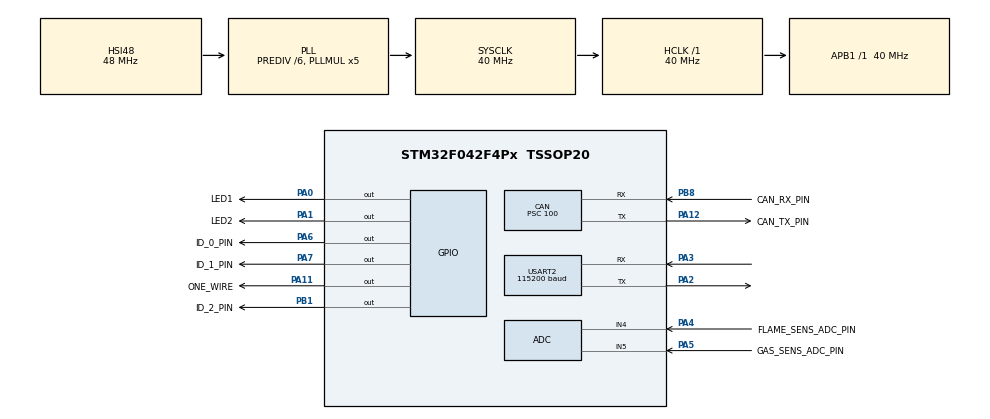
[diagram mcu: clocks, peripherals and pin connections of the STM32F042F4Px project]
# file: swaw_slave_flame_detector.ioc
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ADC.ContinuousConvMode=DISABLE
ADC.EOCSelection=ADC_EOC_SINGLE_CONV
ADC.EnableAnalogWatchDog=false
ADC.ExternalTrigConv=ADC_SOFTWARE_START
ADC.Overrun=ADC_OVR_DATA_OVERWRITTEN
ADC.SamplingTime=ADC_SAMPLETIME_7CYCLES_5
ADC.ScanConvMode=ADC_SCAN_DIRECTION_FORWARD
CAN.BS1=CAN_BS1_2TQ
CAN.CalculateBaudRate=100000
CAN.CalculateTimeBit=10000
CAN.CalculateTimeQuantum=2500.0
CAN.NART=ENABLE
CAN.Prescaler=100
CAN.SJW=CAN_SJW_2TQ
Mcu.Family=STM32F0
Mcu.Name=STM32F042F4Px
Mcu.Package=TSSOP20
PA0.GPIO_Label=LED1
PA0.Signal=GPIO_Output
PA1.GPIO_Label=LED2
PA1.Signal=GPIO_Output
PA11.GPIO_Label=ONE_WIRE
PA11.GPIO_ModeDefaultOutputPP=GPIO_MODE_OUTPUT_OD
PA11.GPIO_PuPd=GPIO_NOPULL
PA11.PinState=GPIO_PIN_SET
PA11.Signal=GPIO_Output
PA12.GPIO_Label=CAN_TX_PIN
PA12.GPIO_PuPd=GPIO_NOPULL
PA12.Mode=CAN_Activate
PA12.Signal=CAN_TX
PA13.Mode=Serial_Wire
PA13.Signal=SYS_SWDIO
PA14.Mode=Serial_Wire
PA14.Signal=SYS_SWCLK
PA2.Mode=Asynchronous
PA2.Signal=USART2_TX
PA3.Mode=Asynchronous
PA3.Signal=USART2_RX
PA4.GPIO_Label=FLAME_SENS_ADC_PIN
PA4.Mode=IN4
PA4.Signal=ADC_IN4
PA5.GPIO_Label=GAS_SENS_ADC_PIN
PA5.Mode=IN5
PA5.Signal=ADC_IN5
PA6.GPIO_Label=ID_0_PIN
PA6.Signal=GPIO_Output
PA7.GPIO_Label=ID_1_PIN
PA7.Signal=GPIO_Output
PB1.GPIO_Label=ID_2_PIN
PB1.Signal=GPIO_Output
PB8.GPIO_FM8=__NULL
PB8.GPIO_Label=CAN_RX_PIN
PB8.GPIO_PuPd=GPIO_NOPULL
PB8.Mode=CAN_Activate
PB8.Signal=CAN_RX
PF0-OSC_IN.Mode=HSE-External-Oscillator
PF0-OSC_IN.Signal=RCC_OSC_IN
PF1-OSC_OUT.Mode=HSE-External-Oscillator
PF1-OSC_OUT.Signal=RCC_OSC_OUT
ProjectManager.HeapSize=0x200
ProjectManager.StackSize=0x400
ProjectManager.TargetToolchain=STM32CubeIDE
RCC.AHBFreq_Value=40000000
RCC.APB1Freq_Value=40000000
RCC.APB1TimFreq_Value=40000000
RCC.HCLKFreq_Value=40000000
RCC.HSE_VALUE=16000000
RCC.PLLDivider=RCC_PREDIV_DIV6
RCC.PLLMUL=RCC_PLL_MUL5
RCC.PLLSourceVirtual=RCC_PLLSOURCE_HSI48
RCC.SYSCLKFreq_VALUE=40000000
RCC.SYSCLKSource=RCC_SYSCLKSOURCE_PLLCLK
TIM17.Prescaler=39
USART2.BaudRate=115200
USART2.VirtualMode-Asynchronous=VM_ASYNC
VP_SYS_VS_PINREMAP.Mode=PINREMAP
VP_TIM17_VS_ClockSourceINT.Mode=Enable_Timer
board=custom

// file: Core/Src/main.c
/* USER CODE BEGIN Header */
/**
  ******************************************************************************
  * @file           : main.c
  * @brief          : Main program body
  ******************************************************************************
  * @attention
  *
  * Copyright (c) 2023 STMicroelectronics.
  * All rights reserved.
  *
  * This software is licensed under terms that can be found in the LICENSE file
  * in the root directory of this software component.
  * If no LICENSE file comes with this software, it is provided AS-IS.
  *
  ******************************************************************************
  */
/* USER CODE END Header */
#include "main.h"
#include "adc.h"
#include "can.h"
#include "tim.h"
#include "usart.h"
#include "gpio.h"

/* USER CODE BEGIN Includes */
#include "ds18b20.h"
#include "flame_sensor.h"
#include "smoke_sensor.h"
#include<string.h>
/* USER CODE END Includes */

/* USER CODE BEGIN PV */
	struct Slv_payload{
		uint16_t smoke_val;
		uint16_t flame_val;
		int16_t	 temp_val;

	}payload_slv;
/* USER CODE END PV */

void SystemClock_Config(void);

int main(void)
{
  /* USER CODE BEGIN 1 */
	uint8_t slave_id = 0;
  /* USER CODE END 1 */

  /* MCU Configuration--------------------------------------------------------*/

  /* Reset of all peripherals, Initializes the Flash interface and the Systick. */
  HAL_Init();

  /* Configure the system clock */
  SystemClock_Config();

  /* Initialize all configured peripherals */
  MX_GPIO_Init();
  MX_ADC_Init();
  MX_CAN_Init();
  MX_USART2_UART_Init();
  MX_TIM17_Init();
  /* USER CODE BEGIN 2 */

  //init temperature sensor
  if (ds18b20_init() != HAL_OK) {
    Error_Handler();
  }
  uint8_t ds1[DS18B20_ROM_CODE_SIZE];

  if (ds18b20_read_address(ds1) != HAL_OK) {
    Error_Handler();
  }

  HAL_CAN_Start(&hcan);

  //dip switch slave id read
  int tmp_id;
  tmp_id =HAL_GPIO_ReadPin(ID_0_PIN_GPIO_Port, ID_0_PIN_Pin);
  slave_id |= tmp_id;
  tmp_id =HAL_GPIO_ReadPin(ID_1_PIN_GPIO_Port, ID_1_PIN_Pin);
  slave_id |= (tmp_id<<1);
  tmp_id =HAL_GPIO_ReadPin(ID_2_PIN_GPIO_Port, ID_2_PIN_Pin);
  slave_id |= (tmp_id<<2);
  HAL_Delay(1000);

  // struct for can
  CAN_TxHeaderTypeDef txHeader;
  uint32_t              TxMailbox;
  uint32_t can_node_id_base = slave_id << 8;

  uint8_t tx_can_data[6];

  txHeader.StdId = can_node_id_base | 0x1;  // Node ID - LSB == 1 - payload id

  txHeader.ExtId = 0;      // // Standard frame
  txHeader.RTR = CAN_RTR_DATA;  //  trans mode - data
  txHeader.IDE = CAN_ID_STD;    //standart id format
  txHeader.DLC = 6;  // length (in bytes)

  /* USER CODE END 2 */

  /* Infinite loop */
  /* USER CODE BEGIN WHILE */
  while (1)
  {

	  while (1)
	  {
		  //temp measure
		  ds18b20_start_measure(NULL);
		  HAL_Delay(750);
		  payload_slv.temp_val = ds18b20_get_temp(NULL);

		  //flame measure
		  flame_sensor_read(&payload_slv.flame_val);
		  //smoke measure
		  smoke_sensor_read(&payload_slv.smoke_val);
		  //send to master via can
		  memcpy(tx_can_data, &payload_slv, sizeof(payload_slv));

		  if (HAL_CAN_AddTxMessage(&hcan, &txHeader, tx_can_data, &TxMailbox) == HAL_OK) {
			  // Successfully add frame to queue
		  } else {
			  //Error when try add frame to queue
		  }

		  // wait for send
		  if (HAL_CAN_GetTxMailboxesFreeLevel(&hcan) == 3) {
			  // Send box is free, all frames are send
		  }

		  HAL_Delay(1000);

	  }

    /* USER CODE END WHILE */

  }
}

void SystemClock_Config(void)
{
  RCC_OscInitTypeDef RCC_OscInitStruct = {0};
  RCC_ClkInitTypeDef RCC_ClkInitStruct = {0};

  /** Initializes the RCC Oscillators according to the specified parameters
  * in the RCC_OscInitTypeDef structure.
  */
  RCC_OscInitStruct.OscillatorType = RCC_OSCILLATORTYPE_HSI14|RCC_OSCILLATORTYPE_HSI48;
  RCC_OscInitStruct.HSI48State = RCC_HSI48_ON;
  RCC_OscInitStruct.HSI14State = RCC_HSI14_ON;
  RCC_OscInitStruct.HSI14CalibrationValue = 16;
  RCC_OscInitStruct.PLL.PLLState = RCC_PLL_ON;
  RCC_OscInitStruct.PLL.PLLSource = RCC_PLLSOURCE_HSI48;
  RCC_OscInitStruct.PLL.PLLMUL = RCC_PLL_MUL5;
  RCC_OscInitStruct.PLL.PREDIV = RCC_PREDIV_DIV6;
  if (HAL_RCC_OscConfig(&RCC_OscInitStruct) != HAL_OK)
  {
    Error_Handler();
  }

  /** Initializes the CPU, AHB and APB buses clocks
  */
  RCC_ClkInitStruct.ClockType = RCC_CLOCKTYPE_HCLK|RCC_CLOCKTYPE_SYSCLK
                              |RCC_CLOCKTYPE_PCLK1;
  RCC_ClkInitStruct.SYSCLKSource = RCC_SYSCLKSOURCE_PLLCLK;
  RCC_ClkInitStruct.AHBCLKDivider = RCC_SYSCLK_DIV1;
  RCC_ClkInitStruct.APB1CLKDivider = RCC_HCLK_DIV1;

  if (HAL_RCC_ClockConfig(&RCC_ClkInitStruct, FLASH_LATENCY_1) != HAL_OK)
  {
    Error_Handler();
  }
}

void Error_Handler(void)
{
  __disable_irq();
  while (1)
  {
  }
}
